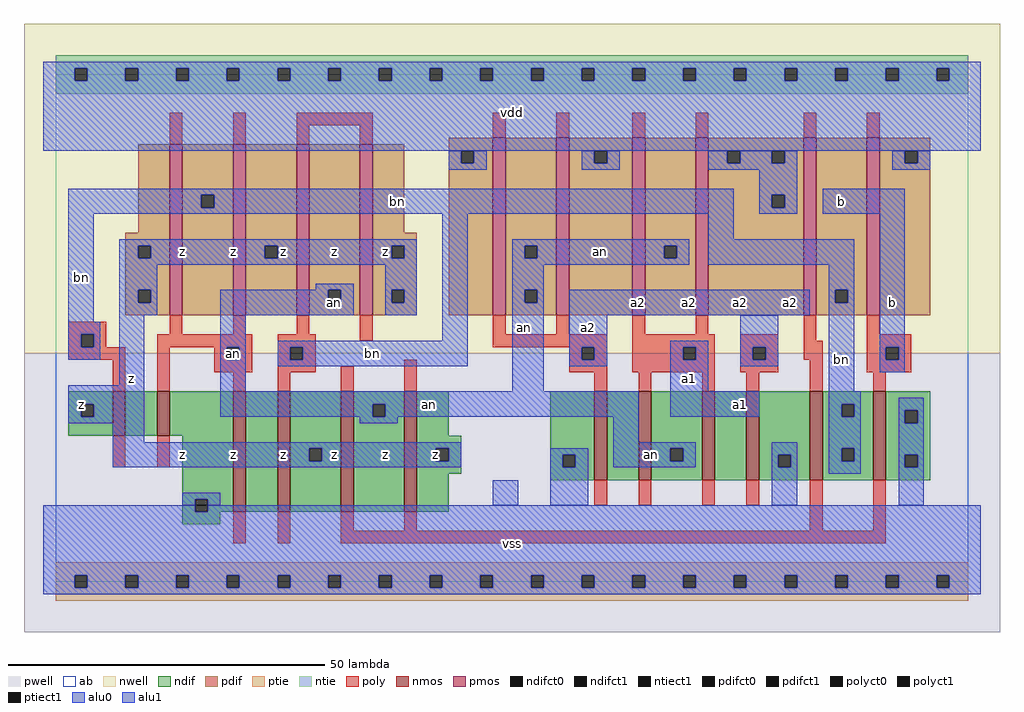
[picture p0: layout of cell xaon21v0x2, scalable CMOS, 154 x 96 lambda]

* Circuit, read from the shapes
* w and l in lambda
.subckt xaon21v0x2 a1 a2 an b bn vdd vss z
M1 n1 bn z vss nfet w=7 l=2
M2 vss an n1 vss nfet w=7 l=2
M3 n2 an vss vss nfet w=19 l=2
M4 z bn n2 vss nfet w=19 l=2
M5 an b z vss nfet w=19 l=2 m=2
M6 n3 a2 vss vss nfet w=14 l=2
M7 an a1 n3 vss nfet w=14 l=2
M8 n4 a1 an vss nfet w=14 l=2
M9 vss a2 n4 vss nfet w=14 l=2
M10 bn b vss vss nfet w=14 l=2 m=2
M11 bn an z vdd pfet w=27 l=2 m=2
M12 an bn z vdd pfet w=27 l=2 m=2
M13 an a2 vdd vdd pfet w=28 l=2 m=2
M14 an a1 vdd vdd pfet w=28 l=2 m=2
M15 bn b vdd vdd pfet w=28 l=2 m=2
.ends

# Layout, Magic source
magic
tech scmos
<< ab >>
rect 0 0 144 80
<< nwell >>
rect -5 36 149 88
<< pwell >>
rect -5 -8 149 36
<< poly >>
rect 18 69 20 74
rect 28 69 30 74
rect 38 72 50 74
rect 38 69 40 72
rect 48 69 50 72
rect 69 70 71 74
rect 79 70 81 74
rect 91 70 93 74
rect 101 70 103 74
rect 118 70 120 74
rect 128 70 130 74
rect 2 39 8 41
rect 18 39 20 42
rect 28 39 30 42
rect 38 39 40 42
rect 2 37 4 39
rect 6 37 8 39
rect 16 37 31 39
rect 2 35 11 37
rect 9 30 11 35
rect 16 30 18 37
rect 25 35 27 37
rect 29 35 31 37
rect 25 33 31 35
rect 35 37 41 39
rect 48 38 50 42
rect 69 39 71 42
rect 79 39 81 42
rect 91 39 93 42
rect 101 39 103 42
rect 69 37 87 39
rect 35 35 37 37
rect 39 35 41 37
rect 81 35 83 37
rect 85 35 87 37
rect 35 33 41 35
rect 28 30 30 33
rect 35 30 37 33
rect 45 30 47 34
rect 55 30 57 35
rect 81 33 87 35
rect 91 37 104 39
rect 91 35 99 37
rect 101 35 104 37
rect 91 33 104 35
rect 108 37 114 39
rect 108 35 110 37
rect 112 35 114 37
rect 118 38 120 42
rect 128 39 130 42
rect 118 35 121 38
rect 108 33 114 35
rect 85 30 87 33
rect 92 30 94 33
rect 102 30 104 33
rect 109 30 111 33
rect 119 30 121 35
rect 128 37 135 39
rect 128 35 131 37
rect 133 35 135 37
rect 128 33 135 35
rect 129 30 131 33
rect 9 18 11 23
rect 16 18 18 23
rect 85 12 87 16
rect 92 12 94 16
rect 102 12 104 16
rect 109 12 111 16
rect 28 6 30 11
rect 35 6 37 11
rect 45 8 47 11
rect 55 8 57 11
rect 119 8 121 16
rect 129 8 131 16
rect 45 6 131 8
<< ndif >>
rect 2 28 9 30
rect 2 26 4 28
rect 6 26 9 28
rect 2 23 9 26
rect 11 23 16 30
rect 18 23 28 30
rect 20 13 28 23
rect 20 11 22 13
rect 24 11 28 13
rect 30 11 35 30
rect 37 21 45 30
rect 37 19 40 21
rect 42 19 45 21
rect 37 11 45 19
rect 47 28 55 30
rect 47 26 50 28
rect 52 26 55 28
rect 47 11 55 26
rect 57 23 62 30
rect 57 21 64 23
rect 57 19 60 21
rect 62 19 64 21
rect 57 17 64 19
rect 78 20 85 30
rect 78 18 80 20
rect 82 18 85 20
rect 57 11 62 17
rect 78 16 85 18
rect 87 16 92 30
rect 94 21 102 30
rect 94 19 97 21
rect 99 19 102 21
rect 94 16 102 19
rect 104 16 109 30
rect 111 20 119 30
rect 111 18 114 20
rect 116 18 119 20
rect 111 16 119 18
rect 121 28 129 30
rect 121 26 124 28
rect 126 26 129 28
rect 121 21 129 26
rect 121 19 124 21
rect 126 19 129 21
rect 121 16 129 19
rect 131 27 138 30
rect 131 25 134 27
rect 136 25 138 27
rect 131 20 138 25
rect 131 18 134 20
rect 136 18 138 20
rect 131 16 138 18
rect 20 9 26 11
<< pdif >>
rect 13 55 18 69
rect 11 53 18 55
rect 11 51 13 53
rect 15 51 18 53
rect 11 46 18 51
rect 11 44 13 46
rect 15 44 18 46
rect 11 42 18 44
rect 20 61 28 69
rect 20 59 23 61
rect 25 59 28 61
rect 20 42 28 59
rect 30 53 38 69
rect 30 51 33 53
rect 35 51 38 53
rect 30 42 38 51
rect 40 46 48 69
rect 40 44 43 46
rect 45 44 48 46
rect 40 42 48 44
rect 50 55 55 69
rect 62 68 69 70
rect 62 66 64 68
rect 66 66 69 68
rect 50 53 57 55
rect 50 51 53 53
rect 55 51 57 53
rect 50 46 57 51
rect 50 44 53 46
rect 55 44 57 46
rect 50 42 57 44
rect 62 42 69 66
rect 71 53 79 70
rect 71 51 74 53
rect 76 51 79 53
rect 71 46 79 51
rect 71 44 74 46
rect 76 44 79 46
rect 71 42 79 44
rect 81 68 91 70
rect 81 66 85 68
rect 87 66 91 68
rect 81 42 91 66
rect 93 53 101 70
rect 93 51 96 53
rect 98 51 101 53
rect 93 42 101 51
rect 103 68 118 70
rect 103 66 106 68
rect 108 66 113 68
rect 115 66 118 68
rect 103 61 118 66
rect 103 59 113 61
rect 115 59 118 61
rect 103 42 118 59
rect 120 46 128 70
rect 120 44 123 46
rect 125 44 128 46
rect 120 42 128 44
rect 130 68 138 70
rect 130 66 134 68
rect 136 66 138 68
rect 130 42 138 66
<< alu1 >>
rect -2 81 146 82
rect -2 79 3 81
rect 5 79 11 81
rect 13 79 19 81
rect 21 79 27 81
rect 29 79 35 81
rect 37 79 43 81
rect 45 79 51 81
rect 53 79 59 81
rect 61 79 67 81
rect 69 79 75 81
rect 77 79 83 81
rect 85 79 91 81
rect 93 79 99 81
rect 101 79 107 81
rect 109 79 115 81
rect 117 79 123 81
rect 125 79 131 81
rect 133 79 139 81
rect 141 79 146 81
rect -2 68 146 79
rect 121 58 134 62
rect 10 53 57 54
rect 10 51 13 53
rect 15 51 33 53
rect 35 51 53 53
rect 55 51 57 53
rect 10 50 57 51
rect 10 46 16 50
rect 10 44 13 46
rect 15 44 16 46
rect 10 42 16 44
rect 52 46 57 50
rect 52 44 53 46
rect 55 44 57 46
rect 52 42 57 44
rect 10 31 14 42
rect 2 28 14 31
rect 2 26 4 28
rect 6 26 14 28
rect 81 42 119 46
rect 81 37 87 42
rect 81 35 83 37
rect 85 35 87 37
rect 81 34 87 35
rect 97 37 103 38
rect 97 35 99 37
rect 101 35 103 37
rect 97 30 103 35
rect 130 37 134 58
rect 130 35 131 37
rect 133 35 134 37
rect 130 33 134 35
rect 97 26 111 30
rect 2 25 14 26
rect 9 22 14 25
rect 9 21 64 22
rect 9 19 40 21
rect 42 19 60 21
rect 62 19 64 21
rect 9 18 64 19
rect -2 11 22 12
rect 24 11 146 12
rect -2 1 146 11
rect -2 -1 3 1
rect 5 -1 11 1
rect 13 -1 19 1
rect 21 -1 27 1
rect 29 -1 35 1
rect 37 -1 43 1
rect 45 -1 51 1
rect 53 -1 59 1
rect 61 -1 67 1
rect 69 -1 75 1
rect 77 -1 83 1
rect 85 -1 91 1
rect 93 -1 99 1
rect 101 -1 107 1
rect 109 -1 115 1
rect 117 -1 123 1
rect 125 -1 131 1
rect 133 -1 139 1
rect 141 -1 146 1
rect -2 -2 146 -1
<< ptie >>
rect 0 1 144 3
rect 0 -1 3 1
rect 5 -1 11 1
rect 13 -1 19 1
rect 21 -1 27 1
rect 29 -1 35 1
rect 37 -1 43 1
rect 45 -1 51 1
rect 53 -1 59 1
rect 61 -1 67 1
rect 69 -1 75 1
rect 77 -1 83 1
rect 85 -1 91 1
rect 93 -1 99 1
rect 101 -1 107 1
rect 109 -1 115 1
rect 117 -1 123 1
rect 125 -1 131 1
rect 133 -1 139 1
rect 141 -1 144 1
rect 0 -3 144 -1
<< ntie >>
rect 0 81 144 83
rect 0 79 3 81
rect 5 79 11 81
rect 13 79 19 81
rect 21 79 27 81
rect 29 79 35 81
rect 37 79 43 81
rect 45 79 51 81
rect 53 79 59 81
rect 61 79 67 81
rect 69 79 75 81
rect 77 79 83 81
rect 85 79 91 81
rect 93 79 99 81
rect 101 79 107 81
rect 109 79 115 81
rect 117 79 123 81
rect 125 79 131 81
rect 133 79 139 81
rect 141 79 144 81
rect 0 77 144 79
<< nmos >>
rect 9 23 11 30
rect 16 23 18 30
rect 28 11 30 30
rect 35 11 37 30
rect 45 11 47 30
rect 55 11 57 30
rect 85 16 87 30
rect 92 16 94 30
rect 102 16 104 30
rect 109 16 111 30
rect 119 16 121 30
rect 129 16 131 30
<< pmos >>
rect 18 42 20 69
rect 28 42 30 69
rect 38 42 40 69
rect 48 42 50 69
rect 69 42 71 70
rect 79 42 81 70
rect 91 42 93 70
rect 101 42 103 70
rect 118 42 120 70
rect 128 42 130 70
<< polyct0 >>
rect 4 37 6 39
rect 27 35 29 37
rect 37 35 39 37
rect 110 35 112 37
<< polyct1 >>
rect 83 35 85 37
rect 99 35 101 37
rect 131 35 133 37
<< ndifct0 >>
rect 22 12 24 13
rect 50 26 52 28
rect 80 18 82 20
rect 97 19 99 21
rect 114 18 116 20
rect 124 26 126 28
rect 124 19 126 21
rect 134 25 136 27
rect 134 18 136 20
<< ndifct1 >>
rect 4 26 6 28
rect 22 11 24 12
rect 40 19 42 21
rect 60 19 62 21
<< ntiect1 >>
rect 3 79 5 81
rect 11 79 13 81
rect 19 79 21 81
rect 27 79 29 81
rect 35 79 37 81
rect 43 79 45 81
rect 51 79 53 81
rect 59 79 61 81
rect 67 79 69 81
rect 75 79 77 81
rect 83 79 85 81
rect 91 79 93 81
rect 99 79 101 81
rect 107 79 109 81
rect 115 79 117 81
rect 123 79 125 81
rect 131 79 133 81
rect 139 79 141 81
<< ptiect1 >>
rect 3 -1 5 1
rect 11 -1 13 1
rect 19 -1 21 1
rect 27 -1 29 1
rect 35 -1 37 1
rect 43 -1 45 1
rect 51 -1 53 1
rect 59 -1 61 1
rect 67 -1 69 1
rect 75 -1 77 1
rect 83 -1 85 1
rect 91 -1 93 1
rect 99 -1 101 1
rect 107 -1 109 1
rect 115 -1 117 1
rect 123 -1 125 1
rect 131 -1 133 1
rect 139 -1 141 1
<< pdifct0 >>
rect 23 59 25 61
rect 43 44 45 46
rect 64 66 66 68
rect 74 51 76 53
rect 74 44 76 46
rect 85 66 87 68
rect 96 51 98 53
rect 106 66 108 68
rect 113 66 115 68
rect 113 59 115 61
rect 123 44 125 46
rect 134 66 136 68
<< pdifct1 >>
rect 13 51 15 53
rect 13 44 15 46
rect 33 51 35 53
rect 53 51 55 53
rect 53 44 55 46
<< alu0 >>
rect 62 66 64 68
rect 66 66 68 68
rect 62 65 68 66
rect 83 66 85 68
rect 87 66 89 68
rect 83 65 89 66
rect 103 66 106 68
rect 108 66 113 68
rect 115 66 117 68
rect 103 65 117 66
rect 132 66 134 68
rect 136 66 138 68
rect 132 65 138 66
rect 2 61 107 62
rect 2 59 23 61
rect 25 59 107 61
rect 2 58 107 59
rect 111 61 117 65
rect 111 59 113 61
rect 115 59 117 61
rect 111 58 117 59
rect 2 41 6 58
rect 41 46 47 47
rect 26 44 43 46
rect 45 44 47 46
rect 26 42 47 44
rect 2 39 7 41
rect 2 37 4 39
rect 6 37 7 39
rect 2 35 7 37
rect 26 37 30 42
rect 61 38 65 58
rect 103 54 107 58
rect 26 35 27 37
rect 29 35 30 37
rect 26 30 30 35
rect 35 37 65 38
rect 35 35 37 37
rect 39 35 65 37
rect 35 34 65 35
rect 72 53 100 54
rect 72 51 74 53
rect 76 51 96 53
rect 98 51 100 53
rect 72 50 100 51
rect 103 50 126 54
rect 72 46 77 50
rect 122 46 126 50
rect 72 44 74 46
rect 76 44 77 46
rect 72 30 77 44
rect 122 44 123 46
rect 125 44 126 46
rect 108 37 114 42
rect 108 35 110 37
rect 112 35 114 37
rect 108 34 114 35
rect 122 30 126 44
rect 26 28 92 30
rect 26 26 50 28
rect 52 26 92 28
rect 122 28 127 30
rect 122 26 124 28
rect 126 26 127 28
rect 48 25 54 26
rect 88 22 92 26
rect 88 21 101 22
rect 78 20 84 21
rect 78 18 80 20
rect 82 18 84 20
rect 88 19 97 21
rect 99 19 101 21
rect 88 18 101 19
rect 113 20 117 22
rect 113 18 114 20
rect 116 18 117 20
rect 20 13 26 14
rect 20 12 22 13
rect 24 12 26 13
rect 69 12 73 16
rect 78 12 84 18
rect 113 12 117 18
rect 122 21 127 26
rect 122 19 124 21
rect 126 19 127 21
rect 122 17 127 19
rect 133 27 137 29
rect 133 25 134 27
rect 136 25 137 27
rect 133 20 137 25
rect 133 18 134 20
rect 136 18 137 20
rect 133 12 137 18
<< labels >>
rlabel alu0 4 48 4 48 6 bn
rlabel polyct0 28 36 28 36 6 an
rlabel alu0 44 44 44 44 6 an
rlabel alu0 50 36 50 36 6 bn
rlabel alu0 74 40 74 40 6 an
rlabel alu0 94 20 94 20 6 an
rlabel alu0 59 28 59 28 6 an
rlabel alu0 86 52 86 52 6 an
rlabel alu0 54 60 54 60 6 bn
rlabel alu0 124 35 124 35 6 bn
rlabel alu1 20 20 20 20 6 z
rlabel alu1 28 20 28 20 6 z
rlabel alu1 12 32 12 32 6 z
rlabel alu1 4 28 4 28 6 z
rlabel alu1 28 52 28 52 6 z
rlabel alu1 20 52 20 52 6 z
rlabel alu1 44 20 44 20 6 z
rlabel alu1 52 20 52 20 6 z
rlabel alu1 60 20 60 20 6 z
rlabel alu1 36 20 36 20 6 z
rlabel alu1 36 52 36 52 6 z
rlabel alu1 44 52 44 52 6 z
rlabel alu1 52 52 52 52 6 z
rlabel alu1 72 6 72 6 6 vss
rlabel alu1 100 32 100 32 6 a1
rlabel alu1 84 40 84 40 6 a2
rlabel alu1 100 44 100 44 6 a2
rlabel alu1 92 44 92 44 6 a2
rlabel alu1 72 74 72 74 6 vdd
rlabel alu1 108 28 108 28 6 a1
rlabel alu1 116 44 116 44 6 a2
rlabel alu1 132 44 132 44 6 b
rlabel alu1 108 44 108 44 6 a2
rlabel alu1 124 60 124 60 6 b
<< end >>
